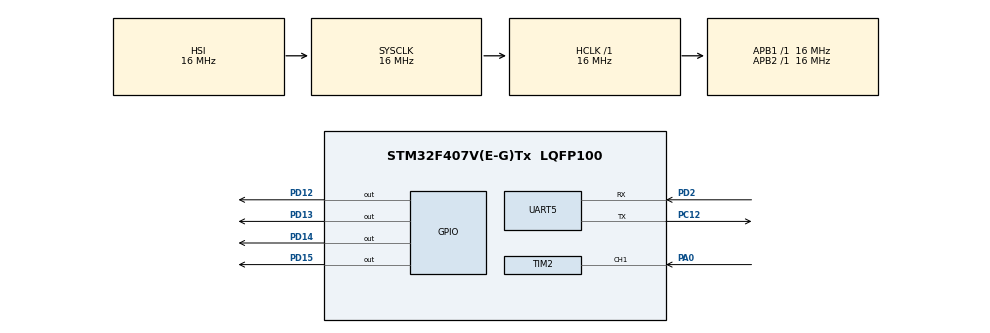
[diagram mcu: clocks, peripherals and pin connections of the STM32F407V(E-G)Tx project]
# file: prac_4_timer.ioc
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IWDG.Prescaler=IWDG_PRESCALER_64
Mcu.Family=STM32F4
Mcu.Name=STM32F407V(E-G)Tx
Mcu.Package=LQFP100
NVIC.PriorityGroup=NVIC_PRIORITYGROUP_4
NVIC.TIM2_IRQn=true\:0\:0\:false\:false\:true\:true\:true\:true
PA0-WKUP.Signal=S_TIM2_CH1_ETR
PA13.Mode=Serial_Wire
PA13.Signal=SYS_JTMS-SWDIO
PA14.Mode=Serial_Wire
PA14.Signal=SYS_JTCK-SWCLK
PC12.Mode=Asynchronous
PC12.Signal=UART5_TX
PD12.Signal=GPIO_Output
PD13.Signal=GPIO_Output
PD14.Signal=GPIO_Output
PD15.Signal=GPIO_Output
PD2.Mode=Asynchronous
PD2.Signal=UART5_RX
ProjectManager.HeapSize=0x200
ProjectManager.StackSize=0x400
ProjectManager.TargetToolchain=STM32CubeIDE
RCC.AHBFreq_Value=16000000
RCC.APB1Freq_Value=16000000
RCC.APB2Freq_Value=16000000
RCC.CortexFreq_Value=16000000
RCC.HSE_VALUE=25000000
RCC.HSI_VALUE=16000000
RCC.LSE_VALUE=32768
RCC.SYSCLKFreq_VALUE=16000000
RCC.VCOOutputFreq_Value=192000000
SH.S_TIM2_CH1_ETR.0=TIM2_CH1,Input_Capture1_from_TI1
TIM2.Channel-Input_Capture1_from_TI1=TIM_CHANNEL_1
TIM2.Period=10000
TIM2.Prescaler=16000
UART5.VirtualMode=Asynchronous
VP_IWDG_VS_IWDG.Mode=IWDG_Activate
VP_TIM2_VS_ClockSourceINT.Mode=Internal
board=custom

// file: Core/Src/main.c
/* USER CODE BEGIN Header */
/**
  ******************************************************************************
  * @file           : main.c
  * @brief          : Main program body
  ******************************************************************************
  * @attention
  *
  * Copyright (c) 2024 STMicroelectronics.
  * All rights reserved.
  *
  * This software is licensed under terms that can be found in the LICENSE file
  * in the root directory of this software component.
  * If no LICENSE file comes with this software, it is provided AS-IS.
  *
  ******************************************************************************
  */
/* USER CODE END Header */
#include "main.h"

IWDG_HandleTypeDef hiwdg;

TIM_HandleTypeDef htim2;

UART_HandleTypeDef huart5;

/* USER CODE BEGIN PV */
int ccr1;
int count;
/* USER CODE END PV */

void SystemClock_Config(void);
static void MX_GPIO_Init(void);
static void MX_IWDG_Init(void);
static void MX_UART5_Init(void);
static void MX_TIM2_Init(void);

int main(void)
{

  /* MCU Configuration--------------------------------------------------------*/

  /* Reset of all peripherals, Initializes the Flash interface and the Systick. */
  HAL_Init();

  /* Configure the system clock */
  SystemClock_Config();

  /* Initialize all configured peripherals */
  MX_GPIO_Init();
  MX_IWDG_Init();
  MX_UART5_Init();
  MX_TIM2_Init();
  /* USER CODE BEGIN 2 */
HAL_TIM_IC_Start_IT(&htim2, TIM_CHANNEL_1);
  /* USER CODE END 2 */

  /* Infinite loop */
  /* USER CODE BEGIN WHILE */
  while (1)
  {
	  count = __HAL_TIM_GET_COUNTER(&htim2);
	  if(ccr1 <= 3000)
	  {
		  HAL_IWDG_Refresh(&hiwdg);
		  HAL_GPIO_TogglePin(GPIOD, GPIO_PIN_12);
		  HAL_Delay(100);
		  HAL_GPIO_TogglePin(GPIOD, GPIO_PIN_13);
		  HAL_Delay(100);
		  HAL_GPIO_TogglePin(GPIOD, GPIO_PIN_14);
		  HAL_Delay(100);
		  HAL_GPIO_TogglePin(GPIOD, GPIO_PIN_15);
		  HAL_Delay(100);
	  }
	  else if(ccr1 <= 6000 && ccr1 > 3000)
	  {
		  HAL_IWDG_Refresh(&hiwdg);
		  HAL_GPIO_TogglePin(GPIOD, GPIO_PIN_15);
		  HAL_Delay(100);
		  HAL_GPIO_TogglePin(GPIOD, GPIO_PIN_14);
		  HAL_Delay(100);
		  HAL_GPIO_TogglePin(GPIOD, GPIO_PIN_13);
		  HAL_Delay(100);
		  HAL_GPIO_TogglePin(GPIOD, GPIO_PIN_12);
		  HAL_Delay(100);
	  }
    /* USER CODE END WHILE */

  }
}

void SystemClock_Config(void)
{
  RCC_OscInitTypeDef RCC_OscInitStruct = {0};
  RCC_ClkInitTypeDef RCC_ClkInitStruct = {0};

  /** Configure the main internal regulator output voltage
  */
  __HAL_RCC_PWR_CLK_ENABLE();
  __HAL_PWR_VOLTAGESCALING_CONFIG(PWR_REGULATOR_VOLTAGE_SCALE1);

  /** Initializes the RCC Oscillators according to the specified parameters
  * in the RCC_OscInitTypeDef structure.
  */
  RCC_OscInitStruct.OscillatorType = RCC_OSCILLATORTYPE_HSI|RCC_OSCILLATORTYPE_LSI;
  RCC_OscInitStruct.HSIState = RCC_HSI_ON;
  RCC_OscInitStruct.HSICalibrationValue = RCC_HSICALIBRATION_DEFAULT;
  RCC_OscInitStruct.LSIState = RCC_LSI_ON;
  RCC_OscInitStruct.PLL.PLLState = RCC_PLL_NONE;
  if (HAL_RCC_OscConfig(&RCC_OscInitStruct) != HAL_OK)
  {
    Error_Handler();
  }

  /** Initializes the CPU, AHB and APB buses clocks
  */
  RCC_ClkInitStruct.ClockType = RCC_CLOCKTYPE_HCLK|RCC_CLOCKTYPE_SYSCLK
                              |RCC_CLOCKTYPE_PCLK1|RCC_CLOCKTYPE_PCLK2;
  RCC_ClkInitStruct.SYSCLKSource = RCC_SYSCLKSOURCE_HSI;
  RCC_ClkInitStruct.AHBCLKDivider = RCC_SYSCLK_DIV1;
  RCC_ClkInitStruct.APB1CLKDivider = RCC_HCLK_DIV1;
  RCC_ClkInitStruct.APB2CLKDivider = RCC_HCLK_DIV1;

  if (HAL_RCC_ClockConfig(&RCC_ClkInitStruct, FLASH_LATENCY_0) != HAL_OK)
  {
    Error_Handler();
  }
}

static void MX_IWDG_Init(void)
{

  hiwdg.Instance = IWDG;
  hiwdg.Init.Prescaler = IWDG_PRESCALER_64;
  hiwdg.Init.Reload = 4095;
  if (HAL_IWDG_Init(&hiwdg) != HAL_OK)
  {
    Error_Handler();
  }

}

static void MX_TIM2_Init(void)
{

  TIM_ClockConfigTypeDef sClockSourceConfig = {0};
  TIM_MasterConfigTypeDef sMasterConfig = {0};
  TIM_IC_InitTypeDef sConfigIC = {0};

  htim2.Instance = TIM2;
  htim2.Init.Prescaler = 16000;
  htim2.Init.CounterMode = TIM_COUNTERMODE_UP;
  htim2.Init.Period = 10000;
  htim2.Init.ClockDivision = TIM_CLOCKDIVISION_DIV1;
  htim2.Init.AutoReloadPreload = TIM_AUTORELOAD_PRELOAD_DISABLE;
  if (HAL_TIM_Base_Init(&htim2) != HAL_OK)
  {
    Error_Handler();
  }
  sClockSourceConfig.ClockSource = TIM_CLOCKSOURCE_INTERNAL;
  if (HAL_TIM_ConfigClockSource(&htim2, &sClockSourceConfig) != HAL_OK)
  {
    Error_Handler();
  }
  if (HAL_TIM_IC_Init(&htim2) != HAL_OK)
  {
    Error_Handler();
  }
  sMasterConfig.MasterOutputTrigger = TIM_TRGO_RESET;
  sMasterConfig.MasterSlaveMode = TIM_MASTERSLAVEMODE_DISABLE;
  if (HAL_TIMEx_MasterConfigSynchronization(&htim2, &sMasterConfig) != HAL_OK)
  {
    Error_Handler();
  }
  sConfigIC.ICPolarity = TIM_INPUTCHANNELPOLARITY_RISING;
  sConfigIC.ICSelection = TIM_ICSELECTION_DIRECTTI;
  sConfigIC.ICPrescaler = TIM_ICPSC_DIV1;
  sConfigIC.ICFilter = 0;
  if (HAL_TIM_IC_ConfigChannel(&htim2, &sConfigIC, TIM_CHANNEL_1) != HAL_OK)
  {
    Error_Handler();
  }

}

static void MX_UART5_Init(void)
{

  huart5.Instance = UART5;
  huart5.Init.BaudRate = 115200;
  huart5.Init.WordLength = UART_WORDLENGTH_8B;
  huart5.Init.StopBits = UART_STOPBITS_1;
  huart5.Init.Parity = UART_PARITY_NONE;
  huart5.Init.Mode = UART_MODE_TX_RX;
  huart5.Init.HwFlowCtl = UART_HWCONTROL_NONE;
  huart5.Init.OverSampling = UART_OVERSAMPLING_16;
  if (HAL_UART_Init(&huart5) != HAL_OK)
  {
    Error_Handler();
  }

}

static void MX_GPIO_Init(void)
{
  GPIO_InitTypeDef GPIO_InitStruct = {0};

  /* GPIO Ports Clock Enable */
  __HAL_RCC_GPIOA_CLK_ENABLE();
  __HAL_RCC_GPIOD_CLK_ENABLE();
  __HAL_RCC_GPIOC_CLK_ENABLE();

  /*Configure GPIO pin Output Level */
  HAL_GPIO_WritePin(GPIOD, GPIO_PIN_12|GPIO_PIN_13|GPIO_PIN_14|GPIO_PIN_15, GPIO_PIN_RESET);

  /*Configure GPIO pins : PD12 PD13 PD14 PD15 */
  GPIO_InitStruct.Pin = GPIO_PIN_12|GPIO_PIN_13|GPIO_PIN_14|GPIO_PIN_15;
  GPIO_InitStruct.Mode = GPIO_MODE_OUTPUT_PP;
  GPIO_InitStruct.Pull = GPIO_NOPULL;
  GPIO_InitStruct.Speed = GPIO_SPEED_FREQ_LOW;
  HAL_GPIO_Init(GPIOD, &GPIO_InitStruct);

}

/* USER CODE BEGIN 4 */
void HAL_TIM_IC_CaptureCallback(TIM_HandleTypeDef *htim)
{
  ccr1 = __HAL_TIM_GET_COMPARE(&htim2, TIM_CHANNEL_1);
}
/* USER CODE END 4 */

void Error_Handler(void)
{
  __disable_irq();
  while (1)
  {
  }
}
